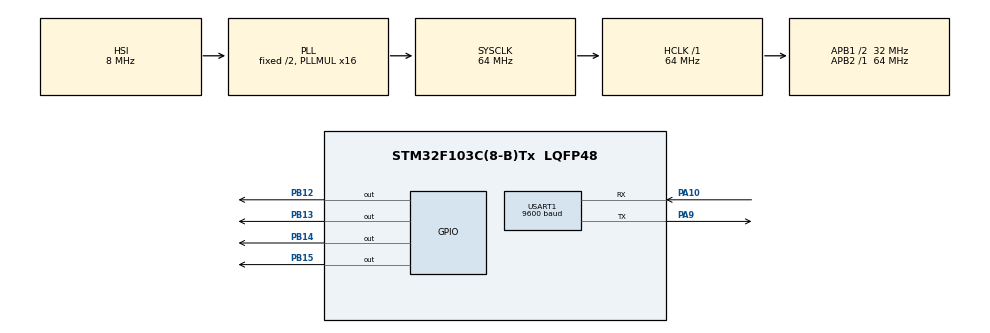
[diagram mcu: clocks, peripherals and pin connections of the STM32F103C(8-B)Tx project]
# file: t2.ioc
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Mcu.Family=STM32F1
Mcu.Name=STM32F103C(8-B)Tx
Mcu.Package=LQFP48
NVIC.PriorityGroup=NVIC_PRIORITYGROUP_4
NVIC.RCC_IRQn=true\:0\:0\:false\:false\:true\:true\:false\:true
NVIC.USART1_IRQn=true\:0\:0\:false\:false\:true\:true\:true\:true
PA10.Mode=Asynchronous
PA10.Signal=USART1_RX
PA13.Mode=Serial_Wire
PA13.Signal=SYS_JTMS-SWDIO
PA14.Mode=Serial_Wire
PA14.Signal=SYS_JTCK-SWCLK
PA9.Mode=Asynchronous
PA9.Signal=USART1_TX
PB12.Signal=GPIO_Output
PB13.Signal=GPIO_Output
PB14.Signal=GPIO_Output
PB15.Signal=GPIO_Output
PC14-OSC32_IN.Mode=LSE-External-Oscillator
PC14-OSC32_IN.Signal=RCC_OSC32_IN
PC15-OSC32_OUT.Mode=LSE-External-Oscillator
PC15-OSC32_OUT.Signal=RCC_OSC32_OUT
PD0-OSC_IN.Mode=HSE-External-Oscillator
PD0-OSC_IN.Signal=RCC_OSC_IN
PD1-OSC_OUT.Mode=HSE-External-Oscillator
PD1-OSC_OUT.Signal=RCC_OSC_OUT
ProjectManager.HeapSize=0x200
ProjectManager.StackSize=0x400
ProjectManager.TargetToolchain=STM32CubeIDE
RCC.AHBFreq_Value=64000000
RCC.APB1CLKDivider=RCC_HCLK_DIV2
RCC.APB1Freq_Value=32000000
RCC.APB1TimFreq_Value=64000000
RCC.APB2Freq_Value=64000000
RCC.APB2TimFreq_Value=64000000
RCC.HCLKFreq_Value=64000000
RCC.PLLMUL=RCC_PLL_MUL16
RCC.SYSCLKFreq_VALUE=64000000
RCC.SYSCLKSource=RCC_SYSCLKSOURCE_PLLCLK
RCC.USBFreq_Value=64000000
USART1.BaudRate=9600
USART1.VirtualMode=VM_ASYNC
board=custom

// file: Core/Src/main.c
/* USER CODE BEGIN Header */
/**
  ******************************************************************************
  * @file           : main.c
  * @brief          : Main program body
  ******************************************************************************
  * @attention
  *
  * Copyright (c) 2022 STMicroelectronics.
  * All rights reserved.
  *
  * This software is licensed under terms that can be found in the LICENSE file
  * in the root directory of this software component.
  * If no LICENSE file comes with this software, it is provided AS-IS.
  *
  ******************************************************************************
  */
/* USER CODE END Header */
#include "main.h"
#include "usart.h"
#include "gpio.h"

/* USER CODE BEGIN Includes */
#include "XMF_OLED_STM32Cube.h"

#include <stddef.h>
#include <stdint.h>
#include <stdio.h>
#include <string.h>
#include "params.h"
#include "kem.h"
#include "kex.h"
#include "indcpa.h"
#include "verify.h"
#include "symmetric.h"
#include "randombytes.h"

#include "cmox_crypto.h"

/* USER CODE END Includes */

/* USER CODE BEGIN PTD */
/* Global variables ----------------------------------------------------------*/

cmox_ecc_handle_t Ecc_Ctx;

/* RSA context */
cmox_rsa_handle_t Rsa_Ctx;
/* RSA key */
cmox_rsa_key_t Rsa_Key;

/* RSA working buffer */
uint8_t Working_Buffer[7000];

//const uint8_t Message[] =
//{
//  0xbc, 0xdd, 0x19, 0x0d, 0xa3, 0xb7, 0xd3, 0x00, 0xdf, 0x9a, 0x06, 0xe2, 0x2c, 0xaa, 0xe2, 0xa7,
//  0x5f, 0x10, 0xc9, 0x1f, 0xf6, 0x67, 0xb7, 0xc1, 0x6b, 0xde, 0x8b, 0x53, 0x06, 0x4a, 0x26, 0x49,
//  0xa9, 0x40, 0x45, 0xc9
//};

const uint8_t Message[] =
{
  0x5f, 0x10, 0xc9, 0x1f, 0xf6, 0x67, 0xa9, 0x40, 0x45, 0xc9, 0xa9, 0x40, 0x45, 0xc9, 0x26, 0x49,
  0x5f, 0x10, 0xc9, 0x1f, 0xf6, 0x67, 0xb7, 0xc1, 0x6b, 0xde, 0x8b, 0x53, 0x06, 0x4a, 0x26, 0x49
};

const uint8_t Seed[] =
{
  0x5c, 0xac, 0xa6, 0xa0, 0xf7, 0x64, 0x16, 0x1a, 0x96, 0x84, 0xf8, 0x5d, 0x92, 0xb6, 0xe0, 0xef,
  0x37, 0xca, 0x8b, 0x65
};

const uint8_t Modulus[] =
{
  0xae, 0x45, 0xed, 0x56, 0x01, 0xce, 0xc6, 0xb8, 0xcc, 0x05, 0xf8, 0x03, 0x93, 0x5c, 0x67, 0x4d,
  0xdb, 0xe0, 0xd7, 0x5c, 0x4c, 0x09, 0xfd, 0x79, 0x51, 0xfc, 0x6b, 0x0c, 0xae, 0xc3, 0x13, 0xa8,
  0xdf, 0x39, 0x97, 0x0c, 0x51, 0x8b, 0xff, 0xba, 0x5e, 0xd6, 0x8f, 0x3f, 0x0d, 0x7f, 0x22, 0xa4,
  0x02, 0x9d, 0x41, 0x3f, 0x1a, 0xe0, 0x7e, 0x4e, 0xbe, 0x9e, 0x41, 0x77, 0xce, 0x23, 0xe7, 0xf5,
  0x40, 0x4b, 0x56, 0x9e, 0x4e, 0xe1, 0xbd, 0xcf, 0x3c, 0x1f, 0xb0, 0x3e, 0xf1, 0x13, 0x80, 0x2d,
  0x4f, 0x85, 0x5e, 0xb9, 0xb5, 0x13, 0x4b, 0x5a, 0x7c, 0x80, 0x85, 0xad, 0xca, 0xe6, 0xfa, 0x2f,
  0xa1, 0x41, 0x7e, 0xc3, 0x76, 0x3b, 0xe1, 0x71, 0xb0, 0xc6, 0x2b, 0x76, 0x0e, 0xde, 0x23, 0xc1,
  0x2a, 0xd9, 0x2b, 0x98, 0x08, 0x84, 0xc6, 0x41, 0xf5, 0xa8, 0xfa, 0xc2, 0x6b, 0xda, 0xd4, 0xa0,
  0x33, 0x81, 0xa2, 0x2f, 0xe1, 0xb7, 0x54, 0x88, 0x50, 0x94, 0xc8, 0x25, 0x06, 0xd4, 0x01, 0x9a,
  0x53, 0x5a, 0x28, 0x6a, 0xfe, 0xb2, 0x71, 0xbb, 0x9b, 0xa5, 0x92, 0xde, 0x18, 0xdc, 0xf6, 0x00,
  0xc2, 0xae, 0xea, 0xe5, 0x6e, 0x02, 0xf7, 0xcf, 0x79, 0xfc, 0x14, 0xcf, 0x3b, 0xdc, 0x7c, 0xd8,
  0x4f, 0xeb, 0xbb, 0xf9, 0x50, 0xca, 0x90, 0x30, 0x4b, 0x22, 0x19, 0xa7, 0xaa, 0x06, 0x3a, 0xef,
  0xa2, 0xc3, 0xc1, 0x98, 0x0e, 0x56, 0x0c, 0xd6, 0x4a, 0xfe, 0x77, 0x95, 0x85, 0xb6, 0x10, 0x76,
  0x57, 0xb9, 0x57, 0x85, 0x7e, 0xfd, 0xe6, 0x01, 0x09, 0x88, 0xab, 0x7d, 0xe4, 0x17, 0xfc, 0x88,
  0xd8, 0xf3, 0x84, 0xc4, 0xe6, 0xe7, 0x2c, 0x3f, 0x94, 0x3e, 0x0c, 0x31, 0xc0, 0xc4, 0xa5, 0xcc,
  0x36, 0xf8, 0x79, 0xd8, 0xa3, 0xac, 0x9d, 0x7d, 0x59, 0x86, 0x0e, 0xaa, 0xda, 0x6b, 0x83, 0xbb
};
const uint8_t Public_Exponent[] =
{
  0x01, 0x00, 0x01
};
const uint8_t Private_Exponent[] =
{
  0x05, 0x6b, 0x04, 0x21, 0x6f, 0xe5, 0xf3, 0x54, 0xac, 0x77, 0x25, 0x0a, 0x4b, 0x6b, 0x0c, 0x85,
  0x25, 0xa8, 0x5c, 0x59, 0xb0, 0xbd, 0x80, 0xc5, 0x64, 0x50, 0xa2, 0x2d, 0x5f, 0x43, 0x8e, 0x59,
  0x6a, 0x33, 0x3a, 0xa8, 0x75, 0xe2, 0x91, 0xdd, 0x43, 0xf4, 0x8c, 0xb8, 0x8b, 0x9d, 0x5f, 0xc0,
  0xd4, 0x99, 0xf9, 0xfc, 0xd1, 0xc3, 0x97, 0xf9, 0xaf, 0xc0, 0x70, 0xcd, 0x9e, 0x39, 0x8c, 0x8d,
  0x19, 0xe6, 0x1d, 0xb7, 0xc7, 0x41, 0x0a, 0x6b, 0x26, 0x75, 0xdf, 0xbf, 0x5d, 0x34, 0x5b, 0x80,
  0x4d, 0x20, 0x1a, 0xdd, 0x50, 0x2d, 0x5c, 0xe2, 0xdf, 0xcb, 0x09, 0x1c, 0xe9, 0x99, 0x7b, 0xbe,
  0xbe, 0x57, 0x30, 0x6f, 0x38, 0x3e, 0x4d, 0x58, 0x81, 0x03, 0xf0, 0x36, 0xf7, 0xe8, 0x5d, 0x19,
  0x34, 0xd1, 0x52, 0xa3, 0x23, 0xe4, 0xa8, 0xdb, 0x45, 0x1d, 0x6f, 0x4a, 0x5b, 0x1b, 0x0f, 0x10,
  0x2c, 0xc1, 0x50, 0xe0, 0x2f, 0xee, 0xe2, 0xb8, 0x8d, 0xea, 0x4a, 0xd4, 0xc1, 0xba, 0xcc, 0xb2,
  0x4d, 0x84, 0x07, 0x2d, 0x14, 0xe1, 0xd2, 0x4a, 0x67, 0x71, 0xf7, 0x40, 0x8e, 0xe3, 0x05, 0x64,
  0xfb, 0x86, 0xd4, 0x39, 0x3a, 0x34, 0xbc, 0xf0, 0xb7, 0x88, 0x50, 0x1d, 0x19, 0x33, 0x03, 0xf1,
  0x3a, 0x22, 0x84, 0xb0, 0x01, 0xf0, 0xf6, 0x49, 0xea, 0xf7, 0x93, 0x28, 0xd4, 0xac, 0x5c, 0x43,
  0x0a, 0xb4, 0x41, 0x49, 0x20, 0xa9, 0x46, 0x0e, 0xd1, 0xb7, 0xbc, 0x40, 0xec, 0x65, 0x3e, 0x87,
  0x6d, 0x09, 0xab, 0xc5, 0x09, 0xae, 0x45, 0xb5, 0x25, 0x19, 0x01, 0x16, 0xa0, 0xc2, 0x61, 0x01,
  0x84, 0x82, 0x98, 0x50, 0x9c, 0x1c, 0x3b, 0xf3, 0xa4, 0x83, 0xe7, 0x27, 0x40, 0x54, 0xe1, 0x5e,
  0x97, 0x07, 0x50, 0x36, 0xe9, 0x89, 0xf6, 0x09, 0x32, 0x80, 0x7b, 0x52, 0x57, 0x75, 0x1e, 0x79
};

const uint8_t Modulus_3072[] =
{
  0xbd, 0xba, 0xf0, 0xc9, 0x69, 0x2d, 0xc8, 0x25, 0xcf, 0x50, 0x8c, 0xd4, 0xc4, 0x75, 0xb4, 0xe8,
  0xb7, 0xb1, 0xb1, 0xbd, 0x25, 0x3d, 0x74, 0xde, 0xfb, 0xe2, 0x61, 0xf2, 0xf7, 0x0f, 0xe4, 0xa6,
  0x8e, 0x5b, 0xdb, 0x1c, 0xc9, 0xd2, 0x7e, 0x7c, 0x5a, 0x9f, 0x0c, 0x06, 0x85, 0x67, 0xc4, 0x12,
  0x70, 0x53, 0xf8, 0xb7, 0xda, 0xb1, 0xd4, 0xc7, 0xfa, 0x3c, 0xaa, 0xfd, 0x82, 0x5a, 0x0a, 0x25,
  0xde, 0x70, 0x77, 0xd0, 0xf3, 0xb1, 0x10, 0x80, 0x62, 0x5a, 0x9f, 0xf1, 0x7b, 0x0b, 0x71, 0x2b,
  0x29, 0xf7, 0xa6, 0x3f, 0xf9, 0x59, 0x57, 0x0d, 0xf0, 0x66, 0x72, 0xb1, 0xba, 0xa8, 0x62, 0x10,
  0x07, 0xff, 0x84, 0xdf, 0x6f, 0xf9, 0x72, 0x38, 0x05, 0x1c, 0x96, 0xf2, 0x34, 0x3a, 0x32, 0x4c,
  0x99, 0x86, 0xde, 0xdd, 0x17, 0xc8, 0x2a, 0x68, 0x30, 0x9d, 0xb6, 0xfe, 0x34, 0x08, 0x2e, 0x26,
  0x84, 0x69, 0x36, 0xb5, 0x75, 0x24, 0x59, 0x81, 0x08, 0x5a, 0x5e, 0xef, 0x3a, 0xa1, 0x09, 0x94,
  0x6a, 0xa4, 0x30, 0x4e, 0x0c, 0x8f, 0xca, 0x9f, 0xfc, 0xc6, 0x56, 0xb8, 0xb5, 0x41, 0x85, 0xc7,
  0xbd, 0x74, 0xc4, 0xfe, 0xe9, 0xef, 0x70, 0xec, 0xca, 0x60, 0x58, 0xce, 0xf5, 0x65, 0x04, 0xa8,
  0xb8, 0x6e, 0x06, 0x4e, 0x17, 0x57, 0x73, 0x63, 0x1d, 0x2f, 0x87, 0xb1, 0xe1, 0x29, 0xf3, 0x5a,
  0x92, 0xf0, 0x6e, 0xad, 0x29, 0xc9, 0xc7, 0xb5, 0x05, 0xa4, 0x13, 0xd1, 0xa6, 0x7e, 0x59, 0xc8,
  0x35, 0x8a, 0x0e, 0xbd, 0x23, 0x47, 0x9b, 0x50, 0x5c, 0xb9, 0xcd, 0x73, 0xe9, 0x0f, 0x64, 0xef,
  0x44, 0xcb, 0xdd, 0x46, 0x04, 0xfe, 0x2b, 0x6e, 0x07, 0x2e, 0xa4, 0xb6, 0x3d, 0x41, 0xb9, 0x6d,
  0xea, 0x0f, 0x6b, 0xff, 0x6f, 0x19, 0x97, 0xa9, 0x7a, 0x43, 0x48, 0x50, 0x94, 0x02, 0xae, 0x7d,
  0x8b, 0x2f, 0x15, 0x7e, 0xac, 0x30, 0xd6, 0xa4, 0xd9, 0xae, 0x22, 0x0e, 0xe1, 0x87, 0xe5, 0xda,
  0xb4, 0xee, 0x51, 0xbb, 0xd2, 0xb2, 0xad, 0x06, 0xab, 0x04, 0xeb, 0xc2, 0xfc, 0xbb, 0xcc, 0xf5,
  0xcb, 0x23, 0x8a, 0x2f, 0xb3, 0x1a, 0xd1, 0xb0, 0xb6, 0x14, 0xbb, 0x97, 0xe0, 0x1d, 0x21, 0x1a,
  0x37, 0xac, 0x02, 0x58, 0x2b, 0x5c, 0x10, 0x59, 0x78, 0x8b, 0xb1, 0x14, 0x5f, 0x91, 0x42, 0xae,
  0x50, 0x02, 0x1d, 0x73, 0x77, 0x29, 0x94, 0x98, 0xa2, 0xab, 0x68, 0x45, 0x23, 0x53, 0xb2, 0x17,
  0x46, 0x0b, 0xad, 0xfd, 0xef, 0x60, 0x14, 0x56, 0xfb, 0xfa, 0xe3, 0x2e, 0x08, 0xa5, 0x59, 0x2b,
  0x4e, 0x42, 0x10, 0x55, 0x9a, 0x57, 0x68, 0x68, 0x20, 0xc7, 0xf4, 0x98, 0x75, 0x0d, 0x34, 0x5f,
  0xf4, 0xa9, 0x23, 0xd7, 0x2c, 0x4a, 0xe3, 0x4b, 0xd7, 0x73, 0xd4, 0xa6, 0xd6, 0xe7, 0xd1, 0x69
};

const uint8_t Private_Exponent_3072[] =
{
  0x57, 0x07, 0x9f, 0x57, 0xe4, 0x45, 0x39, 0xe0, 0x0e, 0x1e, 0xd6, 0xda, 0xea, 0x5b, 0x4b, 0xe6,
  0xcc, 0x0c, 0x58, 0x89, 0x78, 0xc1, 0x9e, 0x10, 0x82, 0xde, 0x2f, 0x2b, 0xf2, 0x24, 0x7a, 0x2f,
  0xe4, 0x71, 0x42, 0x2b, 0x0c, 0x70, 0xdf, 0xd0, 0x4f, 0x09, 0x51, 0xcc, 0xd3, 0xf8, 0xeb, 0x39,
  0xc2, 0x08, 0xe2, 0xb8, 0x03, 0x3b, 0x3b, 0x6d, 0x97, 0xdd, 0xa8, 0x59, 0xad, 0x27, 0x7c, 0x2c,
  0x2e, 0xc2, 0xcc, 0x53, 0x2e, 0xd5, 0x73, 0xca, 0x50, 0x53, 0x5d, 0xb6, 0xb9, 0x48, 0x60, 0x5a,
  0xfa, 0x5f, 0x3d, 0x05, 0x6f, 0x6d, 0x89, 0xbf, 0x3d, 0x1c, 0xe1, 0x53, 0xa1, 0x59, 0x87, 0xd1,
  0xee, 0xb9, 0x48, 0xcb, 0xed, 0x63, 0x30, 0xff, 0x7d, 0x68, 0xc5, 0xdc, 0xc8, 0x14, 0x41, 0xea,
  0x5d, 0x2a, 0x3e, 0xa4, 0x90, 0x3a, 0x23, 0x29, 0xb3, 0xd3, 0x44, 0x93, 0x8a, 0x6e, 0x8e, 0x2c,
  0xe0, 0xe4, 0x1a, 0x52, 0x56, 0x2f, 0x9c, 0x56, 0xd1, 0xec, 0x12, 0x4c, 0x0e, 0x4a, 0xbc, 0x48,
  0x36, 0x3a, 0xa6, 0x65, 0xc6, 0xe1, 0x56, 0x82, 0xd8, 0xc2, 0x6a, 0x19, 0x44, 0x1b, 0x90, 0x30,
  0x35, 0x39, 0x90, 0xfb, 0x95, 0x77, 0x5e, 0x07, 0x60, 0x35, 0x9d, 0xc7, 0x21, 0x4d, 0x7b, 0x3b,
  0xa1, 0x8d, 0xe6, 0x9a, 0x7f, 0x9e, 0x7f, 0xb1, 0x61, 0x3b, 0xe2, 0x34, 0xb8, 0x22, 0x34, 0x1b,
  0xf7, 0x2a, 0x95, 0x2d, 0x9a, 0x12, 0xfd, 0x2c, 0x83, 0x2c, 0xe3, 0x2f, 0xff, 0xcb, 0x19, 0xba,
  0x99, 0xc5, 0xc1, 0x5a, 0x5e, 0x41, 0x1f, 0x5c, 0x51, 0x72, 0x9d, 0x11, 0xa6, 0xcc, 0xb9, 0x75,
  0x90, 0x47, 0x24, 0xfe, 0xa1, 0x43, 0x97, 0x60, 0x40, 0x07, 0x49, 0xf6, 0xc0, 0x5c, 0x38, 0x0d,
  0x63, 0x1c, 0x94, 0xf3, 0x3e, 0x59, 0xab, 0x3c, 0x42, 0x27, 0xa6, 0x32, 0x14, 0x9c, 0xdc, 0xc4,
  0xde, 0x9c, 0xf2, 0x05, 0xc2, 0x5a, 0x5d, 0x70, 0x60, 0x61, 0x55, 0x2f, 0xc7, 0xe8, 0x2f, 0x27,
  0x0e, 0x25, 0x07, 0x19, 0x73, 0xab, 0x36, 0xe1, 0x8c, 0x65, 0xc3, 0x6e, 0x24, 0x4f, 0x1a, 0x00,
  0x18, 0xa7, 0xeb, 0x99, 0xbe, 0x84, 0x73, 0x68, 0x2a, 0x53, 0x68, 0x3c, 0xde, 0x45, 0x6c, 0x19,
  0xff, 0x73, 0x6f, 0x8a, 0xfe, 0x11, 0x2a, 0x43, 0x36, 0x9c, 0xfe, 0x0d, 0xc0, 0x0f, 0xdb, 0x50,
  0xbd, 0x9c, 0xe6, 0xd4, 0x2e, 0x82, 0x59, 0xf3, 0xf9, 0x2d, 0x4b, 0xd7, 0x20, 0x9a, 0x95, 0x42,
  0x8c, 0x3e, 0x20, 0x4b, 0x69, 0xf2, 0x7e, 0x1b, 0x9e, 0x1b, 0xc2, 0x5e, 0x73, 0xfd, 0x4e, 0xe4,
  0xa9, 0x04, 0x00, 0x62, 0x33, 0x0e, 0x9e, 0x0a, 0x7f, 0xd8, 0xb1, 0x73, 0x91, 0x61, 0x4d, 0xe1,
  0x97, 0xd4, 0x27, 0xa5, 0x9d, 0x5d, 0xd1, 0x73, 0x48, 0xdf, 0x2f, 0xf8, 0x09, 0xe5, 0x29, 0x01
};

/* Computed data buffer */
uint8_t Computed_Encryption[384];
uint8_t Computed_Text[sizeof(Message)];

/* USER CODE END PTD */

void SystemClock_Config(void);
/* USER CODE BEGIN PFP */

uint8_t tx1[] = "ssss\r\n";
uint8_t buff[64];
uint8_t text_buff[300];

uint8_t mm = 0, ss = 0, ss01 = 0;

uint64_t t = 0;
uint64_t st = 0;

uint32_t t0, t1;

/* USER CODE END PFP */

/* USER CODE BEGIN 0 */
//void HAL_TIM_PeriodElapsedCallback(TIM_HandleTypeDef *htim)
//{
//
//	t += 1;
//}

void OLED_hx(){
	OLED_Clear();
	OLED_ShowString(6,1,(uint8_t *)"hello");
}

void run_kyber(int ntest){
	uint8_t pk[CRYPTO_PUBLICKEYBYTES];
	  uint8_t sk[CRYPTO_SECRETKEYBYTES];
	  uint8_t ct[CRYPTO_CIPHERTEXTBYTES];
	  //uint8_t key_a[1024*1024];
	  //uint8_t key_b[1024*1024];
	  uint8_t key_a[CRYPTO_BYTES];
	  uint8_t key_b[CRYPTO_BYTES];

	  uint64_t t_kp[ntest];
	  uint64_t t_enc[ntest];
	  uint64_t t_dec[ntest];

	  sprintf((char *)buff,"gen %d:%d:%d\r\n", mm,ss,ss01);
	  HAL_UART_Transmit(&huart1, buff, sizeof(buff), 10000);

	  for(int i = 0; i<ntest; i++){
		  t0 = HAL_GetTick();
		  st = t;
		  crypto_kem_keypair(pk, sk);
		  t1 = HAL_GetTick();
		  t_kp[i] = t - st;
	  }

	  sprintf((char *)buff,"%d\r\n", t_kp[0]);
	  HAL_UART_Transmit(&huart1, buff, sizeof(buff), 10000);

	  sprintf((char *)buff,"self = %u\r\n", t1-t0);
	  HAL_UART_Transmit(&huart1, buff, sizeof(buff), 10000);

//	  sprintf((char *)buff,"%u\r\n", HAL_GetTickPrio());
//	  	  HAL_UART_Transmit(&huart1, buff, sizeof(buff), 10000);

	  sprintf((char *)buff,"enc %d:%d:%d\r\n", mm,ss,ss01);
	  	  HAL_UART_Transmit(&huart1, buff, sizeof(buff), 10000);

	  for(int i = 0; i<ntest; i++){
		  t0 = HAL_GetTick();
		  st = t;
		  crypto_kem_enc(ct, key_b, pk);
		  t1 = HAL_GetTick();
		  t_enc[i] = t - st;
	  }
	  sprintf((char *)buff,"%d\r\n", t_enc[0]);
	  HAL_UART_Transmit(&huart1, buff, sizeof(buff), 10000);

	  sprintf((char *)buff,"self = %u\r\n", t1-t0);
	  HAL_UART_Transmit(&huart1, buff, sizeof(buff), 10000);

//	  for(int i = 0; i<ntest; i++){
//		  crypto_kem_enc(ct, key_b, pk);
//	    }

	  sprintf((char *)buff,"dec %d:%d:%d\r\n", mm,ss,ss01);
	  HAL_UART_Transmit(&huart1, buff, sizeof(buff), 10000);

		  for(int i = 0; i<ntest; i++){
			  t0 = HAL_GetTick();
			  st = t;
			  crypto_kem_dec(key_a, ct, sk);
			  t1 = HAL_GetTick();
			  t_dec[i] = t - st;
		  }

		  sprintf((char *)buff,"%d\r\n", t_dec[0]);
		  HAL_UART_Transmit(&huart1, buff, sizeof(buff), 10000);

		  sprintf((char *)buff,"self = %u\r\n", t1-t0);
		  HAL_UART_Transmit(&huart1, buff, sizeof(buff), 10000);

//	  for(int i = 0; i<ntest; i++){
//		  crypto_kem_dec(key_a, ct, sk);
//	    }

	    sprintf((char *)buff,"4 %d:%d:%d\r\n", mm,ss,ss01);
	    HAL_UART_Transmit(&huart1, buff, sizeof(buff), 10000);
}

void run_rsa(int ntest){

	cmox_rsa_retval_t retval;
	  size_t computed_size;

//	  if (cmox_initialize(NULL) != CMOX_INIT_SUCCESS)
//	    {
//	      Error_Handler();
//	    }

//	  sprintf((char *)buff,"1 %d:%d:%d\r\n", mm,ss,ss01);
//	  HAL_UART_Transmit(&huart1, buff, sizeof(buff), 10000);

	  cmox_rsa_construct(&Rsa_Ctx, CMOX_RSA_MATH_FUNCS, CMOX_MODEXP_PUBLIC, Working_Buffer, sizeof(Working_Buffer));

	  //cmox_rsa_construct(&Rsa_Ctx, CMOX_MATH_FUNCS_SMALL, CMOX_MODEXP_PRIVATE_LOWMEM, Working_Buffer, sizeof(Working_Buffer));

//	  sprintf((char *)buff,"2 %d:%d:%d\r\n", mm,ss,ss01);
//	  HAL_UART_Transmit(&huart1, buff, sizeof(buff), 10000);

	  /* Fill in RSA key structure using the regular private key representation */
//	  retval = cmox_rsa_setKey(&Rsa_Key,                                      /* RSA key structure to fill */
//	                           Modulus, sizeof(Modulus),                      /* Key modulus */
//	                           Public_Exponent, sizeof(Public_Exponent));     /* Public key exponent */

	  /* Fill in RSA key structure using the regular private key representation */

	  retval = cmox_rsa_setKey(&Rsa_Key,                                      /* RSA key structure to fill */
	                           Modulus_3072, sizeof(Modulus_3072),                      /* Private key modulus */
	                           Private_Exponent, sizeof(Private_Exponent));   /* Private key exponent */

	  /* Verify API returned value */
	  if (retval != CMOX_RSA_SUCCESS)
	  {
		  HAL_UART_Transmit(&huart1, (uint8_t *)"hello1\n", sizeof("hello1\n"), 10000);
	  }

//	  sprintf((char *)buff,"3 %d:%d:%d\r\n", mm,ss,ss01);
//	      HAL_UART_Transmit(&huart1, buff, sizeof(buff), 10000);

//	sprintf((char *)buff,"%u\r\n", HAL_GetTick());
//	HAL_UART_Transmit(&huart1, buff, sizeof(buff), 10000);

	  sprintf((char *)buff,"%d\r\n", t);
	  HAL_UART_Transmit(&huart1, buff, sizeof(buff), 10000);

	  for(int i = 0; i < ntest; i++){
		  t0 = HAL_GetTick();
		  sprintf((char *)buff,"%d: %u\r\n", i, t0);
		  HAL_UART_Transmit(&huart1, buff, sizeof(buff), 10000);
		  st = t;

		  sprintf((char *)buff,"%d\r\n", t);
		  HAL_UART_Transmit(&huart1, buff, sizeof(buff), 10000);
	  /* Compute directly the clear message passing all the needed parameters */
		  retval = cmox_rsa_pkcs1v22_encrypt(&Rsa_Ctx,                                 /* RSA context */
		                                     &Rsa_Key,                                 /* RSA key to use */
		                                     Message, sizeof(Message),                 /* Message to encrypt */
		                                     CMOX_RSA_PKCS1V22_HASH_SHA1,              /* Hash method to use */
		                                     Seed, sizeof(Seed),                       /* Random seed */
		                                     NULL, 0,                                  /* No label */
		                                     Computed_Encryption, &computed_size);  /* Data buffer to receive encrypted text */
		  t1 = HAL_GetTick();
		  sprintf((char *)buff,"%u\r\n", t - st);
		  HAL_UART_Transmit(&huart1, buff, sizeof(buff), 10000);

		  sprintf((char *)buff,"self %d: %u\r\n", i, t1-t0);
		  HAL_UART_Transmit(&huart1, buff, sizeof(buff), 10000);

	  }

//	  sprintf((char *)buff,"%u\r\n", HAL_GetTick());
//	  HAL_UART_Transmit(&huart1, buff, sizeof(buff), 10000);
	  sprintf((char *)buff,"finish enc\r\n");
	  HAL_UART_Transmit(&huart1, buff, sizeof(buff), 10000);

//	  retval = cmox_rsa_pkcs1v22_decrypt(&Rsa_Ctx,                                           /* RSA context */
//	                                     &Rsa_Key,                                           /* RSA key to use */
//	                                     Known_EncryptedText, sizeof(Known_EncryptedText),   /* Encrypted message */
//	                                     CMOX_RSA_PKCS1V22_HASH_SHA1,                        /* Hash method to use */
//	                                     NULL, 0,                                            /* No label */
//	                                     Computed_Text, &computed_size);   /* Data buffer to receive clear message */

//
//	  uint8_t Computed_Encryption_compare[sizeof(Known_EncryptedText)];
//
//	  for(int i = 0; i < ntest; i++){
//	  	  /* Compute directly the clear message passing all the needed parameters */
//	  		  retval = cmox_rsa_pkcs1v22_encrypt(&Rsa_Ctx,                                 /* RSA context */
//	  		                                     &Rsa_Key,                                 /* RSA key to use */
//	  		                                     Message, sizeof(Message),                 /* Message to encrypt */
//	  		                                     CMOX_RSA_PKCS1V22_HASH_SHA1,              /* Hash method to use */
//	  		                                     Seed, sizeof(Seed),                       /* Random seed */
//	  		                                     NULL, 0,                                  /* No label */
//	  		                                     Computed_Encryption_compare, &computed_size);  /* Data buffer to receive encrypted text */
//	  	  }

//	  sprintf((char *)buff,"4 %d:%d:%d\r\n", mm,ss,ss01);
//	  	      HAL_UART_Transmit(&huart1, buff, sizeof(buff), 10000);

	  /* Verify API returned value */
	  if (retval != CMOX_RSA_SUCCESS)
	  {
		  HAL_UART_Transmit(&huart1, (uint8_t *)"hello2\n", sizeof("hello2\n"), 10000);
	  }

	  /* Verify generated data size is the expected one */
//	  if (computed_size != sizeof(Message))
//	  {
//		  sprintf((char *)buff,"cz %u %u \r\n", computed_size, sizeof(Message));
//		  HAL_UART_Transmit(&huart1, buff, sizeof(buff), 10000);
////		  sprintf((char *)text_buff,"%s\r\n", (char *)Computed_Encryption);
////		  HAL_UART_Transmit(&huart1, text_buff, sizeof(text_buff), 10000);
//		  //HAL_UART_Transmit(&huart1, Known_EncryptedText, sizeof(Known_EncryptedText), 10000);
//
//	  }

	  /* Verify generated data are the expected ones */
//	  if (memcmp(Computed_Encryption, Known_EncryptedText, computed_size) != 0)
//	  {
//		  HAL_UART_Transmit(&huart1, (uint8_t *)"hello4\n", sizeof("hello4\n"), 10000);
//	  }
//
//	  if (memcmp(Computed_Encryption, Computed_Encryption_compare, computed_size) != 0)
//	  	  {
//	  		  HAL_UART_Transmit(&huart1, (uint8_t *)"not same\n", sizeof("not same\n"), 10000);
//	  	  }

	  /* Cleanup context */
	  cmox_rsa_cleanup(&Rsa_Ctx);
}

void run_ecdsa(){
	const uint8_t Private_Key[] =
	{
	  0x7d, 0x7d, 0xc5, 0xf7, 0x1e, 0xb2, 0x9d, 0xda, 0xf8, 0x0d, 0x62, 0x14, 0x63, 0x2e, 0xea, 0xe0,
	  0x3d, 0x90, 0x58, 0xaf, 0x1f, 0xb6, 0xd2, 0x2e, 0xd8, 0x0b, 0xad, 0xb6, 0x2b, 0xc1, 0xa5, 0x34
	};
	const uint8_t Remote_Public_Key[] =
	{
	  0x70, 0x0c, 0x48, 0xf7, 0x7f, 0x56, 0x58, 0x4c, 0x5c, 0xc6, 0x32, 0xca, 0x65, 0x64, 0x0d, 0xb9,
	  0x1b, 0x6b, 0xac, 0xce, 0x3a, 0x4d, 0xf6, 0xb4, 0x2c, 0xe7, 0xcc, 0x83, 0x88, 0x33, 0xd2, 0x87,
	  0xdb, 0x71, 0xe5, 0x09, 0xe3, 0xfd, 0x9b, 0x06, 0x0d, 0xdb, 0x20, 0xba, 0x5c, 0x51, 0xdc, 0xc5,
	  0x94, 0x8d, 0x46, 0xfb, 0xf6, 0x40, 0xdf, 0xe0, 0x44, 0x17, 0x82, 0xca, 0xb8, 0x5f, 0xa4, 0xac
	};
//	const uint8_t Expected_SecretX[] =
//	{
//	  0x46, 0xfc, 0x62, 0x10, 0x64, 0x20, 0xff, 0x01, 0x2e, 0x54, 0xa4, 0x34, 0xfb, 0xdd, 0x2d, 0x25,
//	  0xcc, 0xc5, 0x85, 0x20, 0x60, 0x56, 0x1e, 0x68, 0x04, 0x0d, 0xd7, 0x77, 0x89, 0x97, 0xbd, 0x7b
//	};

	/* Computed data buffer */
	uint8_t Computed_Secret[CMOX_ECC_SECP256R1_SECRET_LEN];

	cmox_ecc_retval_t retval;
	  size_t computed_size;

//	  if (cmox_initialize(NULL) != CMOX_INIT_SUCCESS)
//	    {
//	      Error_Handler();
//	    }

	  cmox_ecc_construct(&Ecc_Ctx, CMOX_ECC256_MATH_FUNCS, Working_Buffer, sizeof(Working_Buffer));
	  sprintf((char *)buff,"1 %d:%d:%d\r\n", mm,ss,ss01);
	  	  HAL_UART_Transmit(&huart1, buff, sizeof(buff), 10000);
	    /* Compute directly the shared secret passing all the needed parameters */
	    /* Note: CMOX_ECC_CURVE_SECP256R1 refer to the default SECP256R1 definition
	     * selected in cmox_default_config.h. To use a specific definition, user can
	     * directly choose:
	     * - CMOX_ECC_SECP256R1_LOWMEM to select the low RAM usage definition (slower computing)
	     * - CMOX_ECC_SECP256R1_HIGHMEM to select the high RAM usage definition (faster computing)
	     */
	    retval = cmox_ecdh(&Ecc_Ctx,                                         /* ECC context */
	                       CMOX_ECC_CURVE_SECP256R1,                         /* SECP256R1 ECC curve selected */
	                       Private_Key, sizeof(Private_Key),                 /* Local Private key */
	                       Remote_Public_Key, sizeof(Remote_Public_Key),     /* Remote Public key */
	                       Computed_Secret, &computed_size);                 /* Data buffer to receive shared secret */

	    sprintf((char *)buff,"2 %d:%d:%d\r\n", mm,ss,ss01);
	    	  HAL_UART_Transmit(&huart1, buff, sizeof(buff), 10000);

	    /* Verify API returned value */
	    if (retval != CMOX_ECC_SUCCESS)
	    {
	    	sprintf((char *)buff,"3 %d:%d:%d\r\n", mm,ss,ss01);
	    		    	  HAL_UART_Transmit(&huart1, buff, sizeof(buff), 10000);
	    }

	    /* Verify generated data size is the expected one */
	    if (computed_size != sizeof(Computed_Secret))
	    {
	    	sprintf((char *)buff,"cz %u %u \r\n", computed_size, sizeof(Message));
	    			  HAL_UART_Transmit(&huart1, buff, sizeof(buff), 10000);
	    }

	    /* Cleanup context */
	    cmox_ecc_cleanup(&Ecc_Ctx);

	    /* No more need of cryptographic services, finalize cryptographic library */
//	    if (cmox_finalize(NULL) != CMOX_INIT_SUCCESS)
//	    {
//	      Error_Handler();
//	    }

}

#include "polarssl/config.h"

#include "polarssl/entropy.h"
#include "polarssl/ctr_drbg.h"
#include "polarssl/bignum.h"
#include "polarssl/x509.h"
#include "polarssl/rsa.h"

#define KEY_SIZE 1024
#define EXPONENT 65537

void run_rsa2(){
	int ret;
	    rsa_context rsa;
	    entropy_context entropy;
	    ctr_drbg_context ctr_drbg;

	    const char *pers = "rsa_genkey";

	    HAL_UART_Transmit(&huart1, (uint8_t *)"hello1\n", sizeof("hello4\n"), 10000);

	    entropy_init( &entropy );
	    if( ( ret = ctr_drbg_init( &ctr_drbg, entropy_func, &entropy,
	                               (const unsigned char *) pers,
	                               strlen( pers ) ) ) != 0 )
	    {
	    	HAL_UART_Transmit(&huart1, (uint8_t *)"hello2\n", sizeof("hello4\n"), 10000);
	    }

	    HAL_UART_Transmit(&huart1, (uint8_t *)"hello3\n", sizeof("hello4\n"), 10000);

	    rsa_init( &rsa, RSA_PKCS_V15, 0 );

	    if( ( ret = rsa_gen_key( &rsa, ctr_drbg_random, &ctr_drbg, KEY_SIZE,
	                             EXPONENT ) ) != 0 )
	    {
	    	HAL_UART_Transmit(&huart1, (uint8_t *)"hello4\n", sizeof("hello4\n"), 10000);
	    }

	    char *encst = "asdffghhj";
	    unsigned char input[1024];
	    unsigned char buf[512];

//	    if( ( ret = rsa_pkcs1_encrypt( &rsa, ctr_drbg_random, &ctr_drbg,
//	                                       RSA_PUBLIC, strlen( encst ),
//	                                       input, buf ) ) != 0 )
//	        {
//	    	HAL_UART_Transmit(&huart1, (uint8_t *)"hello4\n", sizeof("hello4\n"), 10000);
//	        }

	    HAL_UART_Transmit(&huart1, (uint8_t *)"finish\n", sizeof("finish\n"), 10000);
}

void kyber_kex(){
	uint8_t pk[CRYPTO_PUBLICKEYBYTES];
	  uint8_t sk[CRYPTO_SECRETKEYBYTES];
	  uint8_t ct[CRYPTO_CIPHERTEXTBYTES];
	  //uint8_t key_a[1024*1024];
	  //uint8_t key_b[1024*1024];
	  uint8_t key_a[CRYPTO_BYTES];
	  uint8_t key_b[CRYPTO_BYTES];
	  uint8_t buf[2*CRYPTO_BYTES];

//	  randombytes(buf, KYBER_SYMBYTES);

    sprintf((char *)buff,"self = %u\r\n", HAL_GetTick());
    HAL_UART_Transmit(&huart1, buff, sizeof(buff), 10000);

    t0 = HAL_GetTick();

  // Perform unilaterally authenticated key exchange
//  kex_uake_initA(uake_senda, tk, eska, pkb); // Run by Alice

  crypto_kem_keypair(pk, sk);

  crypto_kem_enc(ct, buf, pk);

//  sprintf((char *)buff,"self = %u\r\n", HAL_GetTick());
//  HAL_UART_Transmit(&huart1, buff, sizeof(buff), 10000);

//  kex_uake_sharedB(uake_sendb, kb, uake_senda, skb); // Run by Bob

  crypto_kem_dec(buf, ct, sk);
  crypto_kem_keypair(pk, sk);
  crypto_kem_enc(ct, buf, pk);
  kdf(buf, buf, 2*CRYPTO_BYTES);

//  kex_uake_sharedA(ka, uake_sendb, tk, eska); // Run by Alice

  crypto_kem_dec(buf, ct, sk);
  kdf(buf, buf, 2*CRYPTO_BYTES);

  t1 = HAL_GetTick();

  sprintf((char *)buff,"self = %u\r\n", t1-t0);
  HAL_UART_Transmit(&huart1, buff, sizeof(buff), 10000);
  //if(memcmp(ka,kb,KEX_SSBYTES))
  //  printf("Error in UAKE\n");

  //if(!memcmp(ka,zero,KEX_SSBYTES))
  //  printf("Error: UAKE produces zero key\n");

}

void kyber_gen(){
  uint8_t pk[CRYPTO_PUBLICKEYBYTES];
  uint8_t sk[CRYPTO_SECRETKEYBYTES];
  uint8_t ct[CRYPTO_CIPHERTEXTBYTES];
  uint8_t key_a[CRYPTO_BYTES];
  uint8_t buf[2*CRYPTO_BYTES];

  sprintf((char *)buff,"self = %u\r\n", HAL_GetTick());
  HAL_UART_Transmit(&huart1, buff, sizeof(buff), 10000);

  t0 = HAL_GetTick();
  crypto_kem_keypair(pk, sk);
  crypto_kem_enc(ct, buf, pk);
  t1 = HAL_GetTick();

  sprintf((char *)buff,"self = %u\r\n", t1-t0);
  HAL_UART_Transmit(&huart1, buff, sizeof(buff), 10000);

  t0 = HAL_GetTick();
  crypto_kem_dec(buf, ct, sk);
  crypto_kem_keypair(pk, sk);
  t1 = HAL_GetTick();

  sprintf((char *)buff,"self = %u\r\n", t1-t0);
  HAL_UART_Transmit(&huart1, buff, sizeof(buff), 10000);
}

static void pack_pk(uint8_t r[KYBER_INDCPA_PUBLICKEYBYTES],
                    polyvec *pk,
                    const uint8_t seed[KYBER_SYMBYTES])
{
  size_t i;
  polyvec_tobytes(r, pk);
  for(i=0;i<KYBER_SYMBYTES;i++)
    r[i+KYBER_POLYVECBYTES] = seed[i];
}

static void unpack_pk(polyvec *pk,
                      uint8_t seed[KYBER_SYMBYTES],
                      const uint8_t packedpk[KYBER_INDCPA_PUBLICKEYBYTES])
{
  size_t i;
  polyvec_frombytes(pk, packedpk);
  for(i=0;i<KYBER_SYMBYTES;i++)
    seed[i] = packedpk[i+KYBER_POLYVECBYTES];
}

static void pack_sk(uint8_t r[KYBER_INDCPA_SECRETKEYBYTES], polyvec *sk)
{
  polyvec_tobytes(r, sk);
}

static void unpack_sk(polyvec *sk, const uint8_t packedsk[KYBER_INDCPA_SECRETKEYBYTES])
{
  polyvec_frombytes(sk, packedsk);
}

#define gen_a(A,B)  gen_matrix(A,B,0)
#define gen_at(A,B) gen_matrix(A,B,1)

void special_test(){
	  uint8_t pk[CRYPTO_PUBLICKEYBYTES];
	  uint8_t sk[CRYPTO_SECRETKEYBYTES];
	  uint8_t ct[CRYPTO_CIPHERTEXTBYTES];
	  uint8_t key[CRYPTO_BYTES];

	  crypto_kem_keypair(pk, sk);

	  uint8_t seed[KYBER_SYMBYTES];
	  polyvec pkpv, at[KYBER_K];

	  t0 = HAL_GetTick();
	  hash_h(ct, sk, CRYPTO_SECRETKEYBYTES);
	  t1 = HAL_GetTick();

	  sprintf((char *)buff,"self = %u\r\n", t1-t0);
	  HAL_UART_Transmit(&huart1, buff, sizeof(buff), 10000);

	  unpack_pk(&pkpv, seed, pk);
	  t0 = HAL_GetTick();
	  gen_at(at, seed);
	  t1 = HAL_GetTick();

	  sprintf((char *)buff,"self = %u\r\n", t1-t0);
	  HAL_UART_Transmit(&huart1, buff, sizeof(buff), 10000);

	  polyvec skpv;

	  t0 = HAL_GetTick();
	  unpack_sk(&skpv, sk);
	  t1 = HAL_GetTick();

	  sprintf((char *)buff,"self = %u\r\n", t1-t0);
	  HAL_UART_Transmit(&huart1, buff, sizeof(buff), 10000);

}
/* USER CODE END 0 */

int main(void)
{

  /* MCU Configuration--------------------------------------------------------*/

  /* Reset of all peripherals, Initializes the Flash interface and the Systick. */
  HAL_Init();

  /* Configure the system clock */
  SystemClock_Config();

  /* Initialize all configured peripherals */
  MX_GPIO_Init();
  MX_USART1_UART_Init();

  /* Infinite loop */
  /* USER CODE BEGIN WHILE */

//  HAL_TIM_Base_Start_IT(&htim3);

  OLED_Init();

  OLED_Clear();
//  sprintf((char*)buff, "%d\r\n", 1234);

//  HAL_UART_Transmit(&huart1, tx1, sizeof(tx1), 10000);
//  HAL_UART_Transmit(&huart1, buff, sizeof(buff), 10000);

//   run_rsa(1);

//  run_kyber(1);

  // run_ecdsa(1);

//   run_rsa2();

//  kyber_kex();

//  kyber_gen();

  special_test();

  sprintf((char *)buff,"end %d:%d:%d\r\n", mm,ss,ss01);
  HAL_UART_Transmit(&huart1, buff, sizeof(buff), 10000);

  while (1)
  {
    /* USER CODE END WHILE */

  }
}

void SystemClock_Config(void)
{
  RCC_OscInitTypeDef RCC_OscInitStruct = {0};
  RCC_ClkInitTypeDef RCC_ClkInitStruct = {0};

  /** Initializes the RCC Oscillators according to the specified parameters
  * in the RCC_OscInitTypeDef structure.
  */
  RCC_OscInitStruct.OscillatorType = RCC_OSCILLATORTYPE_HSI;
  RCC_OscInitStruct.HSIState = RCC_HSI_ON;
  RCC_OscInitStruct.HSICalibrationValue = RCC_HSICALIBRATION_DEFAULT;
  RCC_OscInitStruct.PLL.PLLState = RCC_PLL_ON;
  RCC_OscInitStruct.PLL.PLLSource = RCC_PLLSOURCE_HSI_DIV2;
  RCC_OscInitStruct.PLL.PLLMUL = RCC_PLL_MUL16;
  if (HAL_RCC_OscConfig(&RCC_OscInitStruct) != HAL_OK)
  {
    Error_Handler();
  }

  /** Initializes the CPU, AHB and APB buses clocks
  */
  RCC_ClkInitStruct.ClockType = RCC_CLOCKTYPE_HCLK|RCC_CLOCKTYPE_SYSCLK
                              |RCC_CLOCKTYPE_PCLK1|RCC_CLOCKTYPE_PCLK2;
  RCC_ClkInitStruct.SYSCLKSource = RCC_SYSCLKSOURCE_PLLCLK;
  RCC_ClkInitStruct.AHBCLKDivider = RCC_SYSCLK_DIV1;
  RCC_ClkInitStruct.APB1CLKDivider = RCC_HCLK_DIV2;
  RCC_ClkInitStruct.APB2CLKDivider = RCC_HCLK_DIV1;

  if (HAL_RCC_ClockConfig(&RCC_ClkInitStruct, FLASH_LATENCY_2) != HAL_OK)
  {
    Error_Handler();
  }
}

void Error_Handler(void)
{
  __disable_irq();
  while (1)
  {
  }
}
